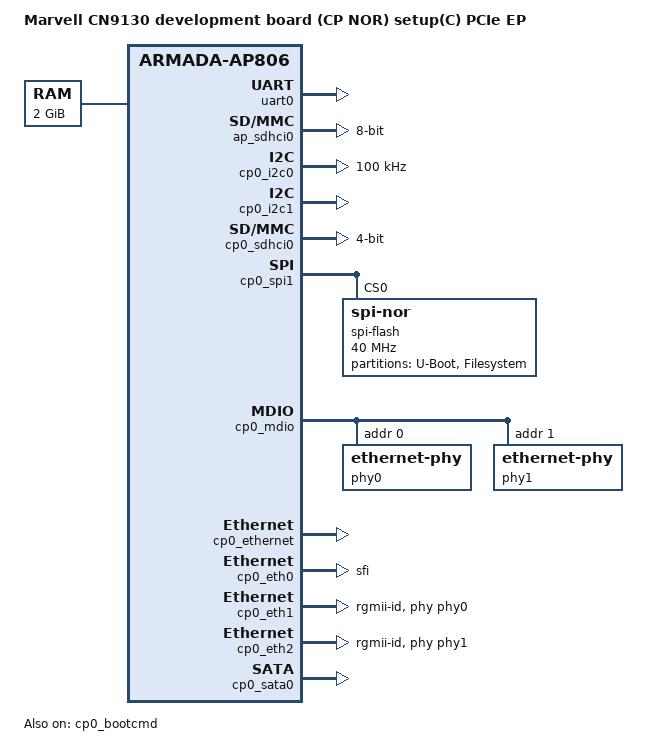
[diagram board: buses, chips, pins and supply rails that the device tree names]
/*
 * Copyright (C) 2019 Marvell International Ltd.
 *
 * SPDX-License-Identifier:    GPL-2.0
 * https://spdx.org/licenses
 */

#include "cn9130-db.dtsi"

/ {
	model = "Marvell CN9130 development board (CP NOR) setup(C) PCIe EP";
	compatible = "marvell,cn9130-db", "marvell,cn91xx", "marvell,cn9030-vd",
		     "marvell,cn9030", "marvell,armada-ap806-quad",
		     "marvell,armada-ap806";

	chosen {
		stdout-path = "serial0:115200n8";
	};

	aliases {
		i2c0 = &cp0_i2c0;
		spi0 = &cp0_spi1;
		gpio0 = &ap_gpio0;
		gpio1 = &cp0_gpio0;
		gpio2 = &cp0_gpio1;
	};

	memory@00000000 {
		device_type = "memory";
		reg = <0x0 0x0 0x0 0x80000000>;
	};

	reserved-memory {
		#address-cells = <2>;
		#size-cells = <2>;
		ranges;

		/* The PCI console memory must be reserved */
		console_reserved: pci-console-nexus@3f000000 {
			compatible = "marvell,pci-console-nexus-memory";
			reg = <0 0x3f000000 0 0x1000000>;
			no-map;
		};
	};
};

&uart0 {
	status = "okay";
};

/*
 * AP related configuration
 */
&ap_pinctl {
	/* MPP Bus:
	 * SDIO  [0-10, 12]
	 * UART0 [11,19]
	 */
		/*   0 1 2 3 4 5 6 7 8 9 */
	pin-func = < 1 1 1 1 1 1 1 1 1 1
		     1 3 1 0 0 0 0 0 0 3 >;
};

/* on-board eMMC - U9 */
&ap_sdhci0 {
	pinctrl-names = "default";
	pinctrl-0 = <&ap_emmc_pins>;
	bus-width = <8>;
	status = "okay";
};

/*
 * CP related configuration
 */
&cp0_pinctl {
	/* MPP Bus:
	 *	[0-11]	RGMII1
	 *	[12]	GPIO GE-IN
	 *	[13-16]	SPI1
	 *	[17-27]	NAND
	 *	[28]	MSS_GPIO[5] XXX:(mode nr from a3900)
	 *	[29-30]	SATA
	 *	[31]	MSS_GPIO[4] XXX:(mode nr from a3900)
	 *	[32,34]	SMI
	 *	[33]	SDIO
	 *	[35-36]	I2C1
	 *	[37-38]	I2C0
	 *	[39-43]	SDIOctrl
	 *	[44-55]	RGMII2
	 *	[56-62]	SDIO
	 */

		/*   0   1   2   3   4   5   6   7   8   9 */
	pin-func = < 3   3   3   3   3   3   3   3   3   3
		     3   3   0   3   3   3   3   1   1   1
		     1   1   1   1   1   1   1   1   3   9
		     9   3   7   6   7   2   2   2   2   1
		     1   1   1   1   1   1   1   1   1   1
		     1   1   1   1   1   1   0xe 0xe 0xe 0xe
		     0xe 0xe 0xe>;
};

&cp0_bootcmd {
	status = "okay";
};

&cp0_i2c0 {
	pinctrl-names = "default";
	pinctrl-0 = <&cp0_i2c0_pins>;
	status = "okay";
	clock-frequency = <100000>;
};

&cp0_i2c1 {
	status = "okay";
};

/* CON 28 */
&cp0_sdhci0 {
	pinctrl-names = "default";
	pinctrl-0 = <&cp0_sdhci_pins>;
	bus-width = <4>;
	status = "okay";
};

/* U54 */
&cp0_nand {
	status = "disabled";
};

/* U55 */
&cp0_spi1 {
	pinctrl-names = "default";
	pinctrl-0 = <&cp0_spi0_pins>;
	reg = <0x700680 0x50>,		/* control */
	      <0x2000000 0x1000000>,	/* CS0 */
	      <0 0xffffffff>,		/* CS1 */
	      <0 0xffffffff>,		/* CS2 */
	      <0 0xffffffff>;		/* CS3 */
	status = "okay";

	spi-flash@0 {
		#address-cells = <0x1>;
		#size-cells = <0x1>;
		compatible = "jedec,spi-nor", "spi-flash";
		reg = <0x0>;
		/* On-board MUX does not allow higher frequencies */
		spi-max-frequency = <40000000>;

		partitions {
			compatible = "fixed-partitions";
			#address-cells = <1>;
			#size-cells = <1>;

			partition@0 {
				label = "U-Boot";
				reg = <0x0 0x200000>;
			};

			partition@400000 {
				label = "Filesystem";
				reg = <0x200000 0xe00000>;
			};
		};
	};
};

&cp0_comphy {

	phy0 {
		phy-type = <COMPHY_TYPE_IGNORE>;
	};

	phy1 {
		phy-type = <COMPHY_TYPE_IGNORE>;
	};

	phy2 {
		phy-type = <COMPHY_TYPE_IGNORE>;
	};

	phy3 {
		phy-type = <COMPHY_TYPE_IGNORE>;
	};

	phy4 {
		phy-type = <COMPHY_TYPE_SFI0>;
		phy-speed = <COMPHY_SPEED_10_3125G>;
	};

	phy5 {
		phy-type = <COMPHY_TYPE_SATA1>;
	};
};

&cp0_mdio {
	status = "okay";
	phy0: ethernet-phy@0 {
		reg = <0>;
	};
	phy1: ethernet-phy@1 {
		reg = <1>;
	};
};

&cp0_ethernet {
	status = "okay";
};

/* SLM-1521-V2, CON9 */
&cp0_eth0 {
	status = "okay";
	phy-mode = "sfi";
};

/* CON56 */
&cp0_eth1 {
	status = "okay";
	phy = <&phy0>;
	phy-mode = "rgmii-id";
};

/* CON57 */
&cp0_eth2 {
	status = "okay";
	phy = <&phy1>;
	phy-mode = "rgmii-id";
};

/* SLM-1521-V2, CON2 */
&cp0_sata0 {
	status = "okay";
};

&cp0_pcie0{
	status = "disabled";
};
